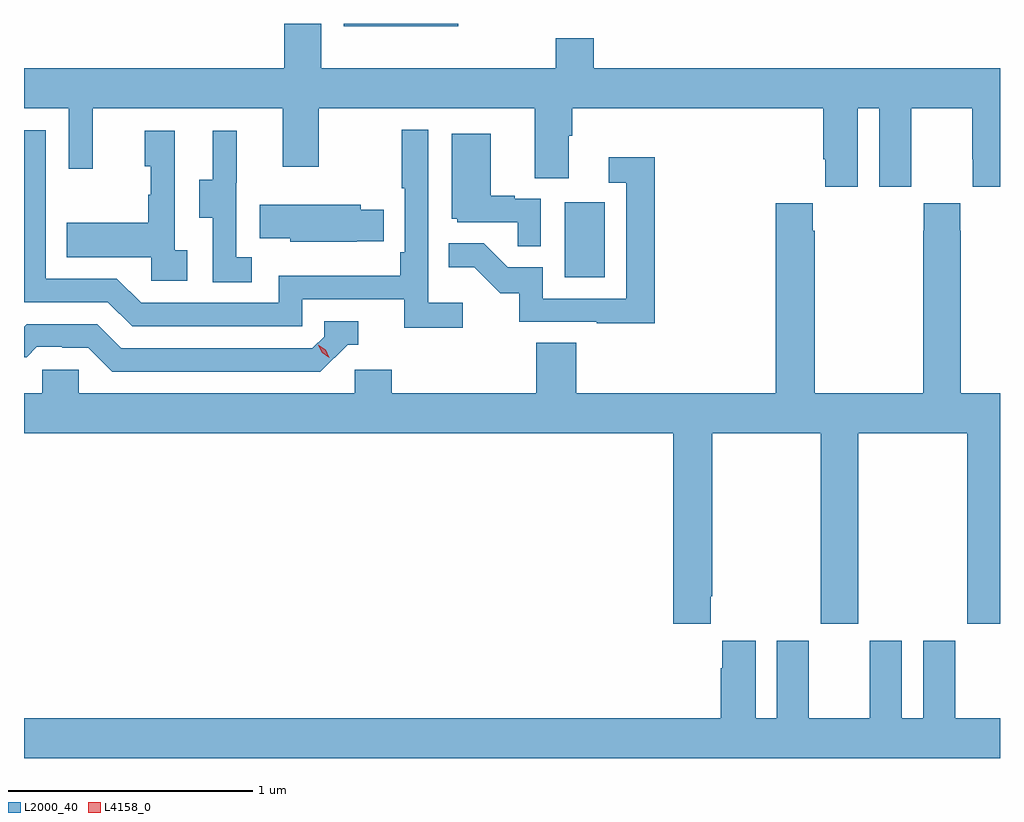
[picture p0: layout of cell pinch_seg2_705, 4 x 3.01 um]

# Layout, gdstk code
import gdstk
lib = gdstk.Library(unit=1e-6, precision=1e-09)
def R(c, l, rs):  # rectangles x0, y0, x1, y1
    for r in rs: c.add(gdstk.rectangle(r[:2], r[2:], *l))
def P(c, l, *ps):  # polygons
    for p in ps: c.add(gdstk.Polygon(p, *l))
L2000_40 = (2000, 40)
L4158_0 = (4158, 0)

pinch_seg2_705 = lib.new_cell('pinch_seg2_705')
R(pinch_seg2_705, L2000_40, [(1131.506,597.66,1131.67,597.967), (1130.6,598.688,1131.07,598.7)])
P(pinch_seg2_705, L2000_40, [(1132.708,598.352),(1132.796,598.352),(1132.796,598.032),(1132.926,598.032),(1132.926,598.144),(1132.927,598.144),(1132.927,598.352),(1133.177,598.352),(1133.177,598.144),(1133.178,598.144),(1133.178,598.032),(1133.29,598.032),(1133.29,598.516),(1131.626,598.516),(1131.626,598.64),(1131.469,598.64),(1131.469,598.516),(1130.509,598.516),(1130.509,598.7),(1130.357,598.7),(1130.357,598.516),(1129.29,598.516),(1129.29,598.352),(1129.473,598.352),(1129.473,598.104),(1129.571,598.104),(1129.571,598.352),(1130.351,598.352),(1130.351,598.113),(1130.499,598.113),(1130.499,598.352),(1131.383,598.352),(1131.383,598.066),(1131.523,598.066),(1131.523,598.24),(1131.536,598.24),(1131.536,598.352),(1132.565,598.352),(1132.565,598.144),(1132.574,598.144),(1132.574,598.032),(1132.708,598.032)],
  [(1131.088,597.556),(1130.946,597.556),(1130.946,598.264),(1130.838,598.264),(1130.838,598.024),(1130.85,598.024),(1130.85,597.763),(1130.833,597.763),(1130.833,597.667),(1130.334,597.667),(1130.334,597.555),(1129.77,597.555),(1129.671,597.654),(1129.38,597.654),(1129.38,598.263),(1129.29,598.263),(1129.29,597.558),(1129.634,597.558),(1129.733,597.459),(1130.43,597.459),(1130.43,597.57),(1130.849,597.57),(1130.849,597.454),(1131.088,597.454)],
  [(1130.224,597.743),(1130.16,597.743),(1130.16,598.047),(1130.162,598.047),(1130.162,598.261),(1130.063,598.261),(1130.063,598.059),(1130.009,598.059),(1130.009,597.904),(1130.064,597.904),(1130.064,597.64),(1130.224,597.64)],
  [(1129.96,597.77),(1129.908,597.77),(1129.908,598.261),(1129.784,598.261),(1129.784,598.116),(1129.81,598.116),(1129.81,597.998),(1129.8,597.998),(1129.8,597.883),(1129.465,597.883),(1129.465,597.743),(1129.812,597.743),(1129.812,597.645),(1129.96,597.645)],
  [(1131.408,597.981),(1131.302,597.981),(1131.302,597.994),(1131.202,597.994),(1131.202,598.249),(1131.044,598.249),(1131.044,597.9),(1131.066,597.9),(1131.066,597.885),(1131.313,597.885),(1131.313,597.787),(1131.408,597.787)],
  [(1131.875,598.153),(1131.687,598.153),(1131.687,598.047),(1131.759,598.047),(1131.759,597.573),(1131.417,597.573),(1131.417,597.702),(1131.273,597.702),(1131.175,597.8),(1131.031,597.8),(1131.031,597.701),(1131.135,597.701),(1131.242,597.594),(1131.319,597.594),(1131.319,597.477),(1131.637,597.477),(1131.637,597.472),(1131.875,597.472)],
  [(1132.105,596.353),(1132.11,596.353),(1132.11,597.02),(1132.555,597.02),(1132.555,596.241),(1132.71,596.241),(1132.71,597.02),(1133.155,597.02),(1133.155,596.241),(1133.29,596.241),(1133.29,597.184),(1133.13,597.184),(1133.13,597.851),(1133.127,597.851),(1133.127,597.964),(1132.977,597.964),(1132.977,597.851),(1132.975,597.851),(1132.975,597.184),(1132.53,597.184),(1132.53,597.851),(1132.523,597.851),(1132.523,597.964),(1132.37,597.964),(1132.37,597.184),(1131.554,597.184),(1131.554,597.392),(1131.389,597.392),(1131.389,597.184),(1130.798,597.184),(1130.798,597.282),(1130.646,597.282),(1130.646,597.184),(1129.515,597.184),(1129.515,597.282),(1129.365,597.282),(1129.365,597.184),(1129.29,597.184),(1129.29,597.02),(1131.95,597.02),(1131.95,596.241),(1132.105,596.241)],
  [(1130.654,597.807),(1130.765,597.807),(1130.765,597.936),(1130.671,597.936),(1130.671,597.958),(1130.257,597.958),(1130.257,597.821),(1130.382,597.821),(1130.382,597.806),(1130.654,597.806)],
  [(1130.616,597.384),(1130.659,597.384),(1130.659,597.48),(1130.52,597.48),(1130.52,597.417),(1130.472,597.369),(1129.689,597.369),(1129.59,597.468),(1129.301,597.468),(1129.29,597.457),(1129.29,597.333),(1129.301,597.333),(1129.343,597.375),(1129.446,597.375),(1129.446,597.372),(1129.553,597.372),(1129.652,597.273),(1130.505,597.273)],
  [(1133.29,595.852),(1133.107,595.852),(1133.107,596.17),(1132.976,596.17),(1132.976,595.852),(1132.888,595.852),(1132.888,596.17),(1132.757,596.17),(1132.757,595.852),(1132.507,595.852),(1132.507,596.17),(1132.376,596.17),(1132.376,595.852),(1132.288,595.852),(1132.288,596.17),(1132.151,596.17),(1132.151,596.057),(1132.145,596.057),(1132.145,595.852),(1129.29,595.852),(1129.29,595.688),(1133.29,595.688)])
P(pinch_seg2_705, L4158_0, [(1130.542,597.33),(1130.512,597.35),(1130.496,597.382),(1130.496,597.383),(1130.496,597.383),(1130.526,597.363),(1130.542,597.331),(1130.542,597.33)])

lib.write_gds('pinch_seg2_705.gds')
